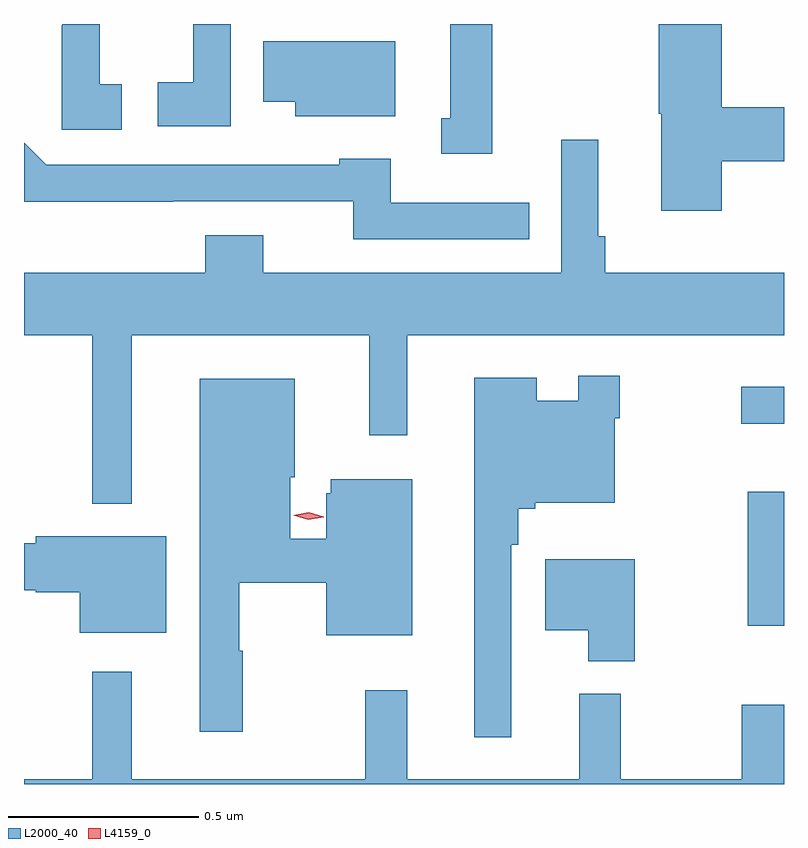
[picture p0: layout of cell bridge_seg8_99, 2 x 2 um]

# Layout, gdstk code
import gdstk
lib = gdstk.Library(unit=1e-6, precision=1e-09)
def R(c, l, rs):  # rectangles x0, y0, x1, y1
    for r in rs: c.add(gdstk.rectangle(r[:2], r[2:], *l))
def P(c, l, *ps):  # polygons
    for p in ps: c.add(gdstk.Polygon(p, *l))
L2000_40 = (2000, 40)
L4159_0 = (4159, 0)

bridge_seg8_99 = lib.new_cell('bridge_seg8_99')
R(bridge_seg8_99, L2000_40, [(658.628,1139.712,658.723,1140.064), (658.611,1140.243,658.723,1140.34)])
P(bridge_seg8_99, L2000_40, [(658.559,1140.934),(658.723,1140.934),(658.723,1141.076),(658.559,1141.076),(658.559,1141.295),(658.393,1141.295),(658.393,1141.059),(658.4,1141.059),(658.4,1140.804),(658.559,1140.804)],
  [(657.955,1141.295),(657.845,1141.295),(657.845,1141.047),(657.821,1141.047),(657.821,1140.953),(657.955,1140.953)],
  [(657.267,1141.295),(657.169,1141.295),(657.169,1141.142),(657.075,1141.142),(657.075,1141.026),(657.267,1141.026)],
  [(656.98,1141.137),(656.922,1141.137),(656.922,1141.295),(656.823,1141.295),(656.823,1141.292),(656.822,1141.292),(656.822,1141.017),(656.98,1141.017)],
  [(657.7,1141.249),(657.352,1141.249),(657.352,1141.091),(657.437,1141.091),(657.437,1141.052),(657.7,1141.052)],
  [(657.007,1140.476),(657.632,1140.476),(657.632,1140.213),(657.731,1140.213),(657.731,1140.476),(658.723,1140.476),(658.723,1140.64),(658.253,1140.64),(658.253,1140.736),(658.234,1140.736),(658.234,1140.991),(658.137,1140.991),(658.137,1140.64),(657.352,1140.64),(657.352,1140.739),(657.2,1140.739),(657.2,1140.64),(656.723,1140.64),(656.723,1140.476),(656.903,1140.476),(656.903,1140.032),(657.007,1140.032)],
  [(658.052,1140.825),(657.688,1140.825),(657.688,1140.94),(657.552,1140.94),(657.552,1140.924),(656.781,1140.924),(656.723,1140.982),(656.723,1140.827),(657.116,1140.827),(657.116,1140.828),(657.589,1140.828),(657.589,1140.729),(658.052,1140.729)],
  [(658.005,1139.924),(658.023,1139.924),(658.023,1140.02),(658.068,1140.02),(658.068,1140.035),(658.278,1140.035),(658.278,1140.257),(658.291,1140.257),(658.291,1140.37),(658.182,1140.37),(658.182,1140.304),(658.072,1140.304),(658.072,1140.364),(657.908,1140.364),(657.908,1139.418),(658.005,1139.418)],
  [(657.299,1139.646),(657.289,1139.646),(657.289,1139.824),(657.518,1139.824),(657.518,1139.687),(657.745,1139.687),(657.745,1140.097),(657.53,1140.097),(657.53,1140.06),(657.518,1140.06),(657.518,1139.941),(657.424,1139.941),(657.424,1140.102),(657.436,1140.102),(657.436,1140.361),(657.185,1140.361),(657.185,1139.433),(657.299,1139.433)],
  [(657.097,1139.947),(656.754,1139.947),(656.754,1139.929),(656.723,1139.929),(656.723,1139.805),(656.754,1139.805),(656.754,1139.8),(656.87,1139.8),(656.87,1139.693),(657.097,1139.693)],
  [(658.33,1139.887),(658.095,1139.887),(658.095,1139.699),(658.208,1139.699),(658.208,1139.618),(658.33,1139.618)],
  [(658.723,1139.503),(658.612,1139.503),(658.612,1139.308),(658.294,1139.308),(658.294,1139.533),(658.184,1139.533),(658.184,1139.308),(657.731,1139.308),(657.731,1139.542),(657.621,1139.542),(657.621,1139.308),(657.007,1139.308),(657.007,1139.59),(656.903,1139.59),(656.903,1139.308),(656.723,1139.308),(656.723,1139.295),(658.723,1139.295)])
P(bridge_seg8_99, L4159_0, [(657.471,1139.99),(657.431,1140.002),(657.431,1140.002),(657.431,1140.002),(657.472,1140.01),(657.512,1139.998),(657.512,1139.998),(657.512,1139.997)])

lib.write_gds('bridge_seg8_99.gds')
